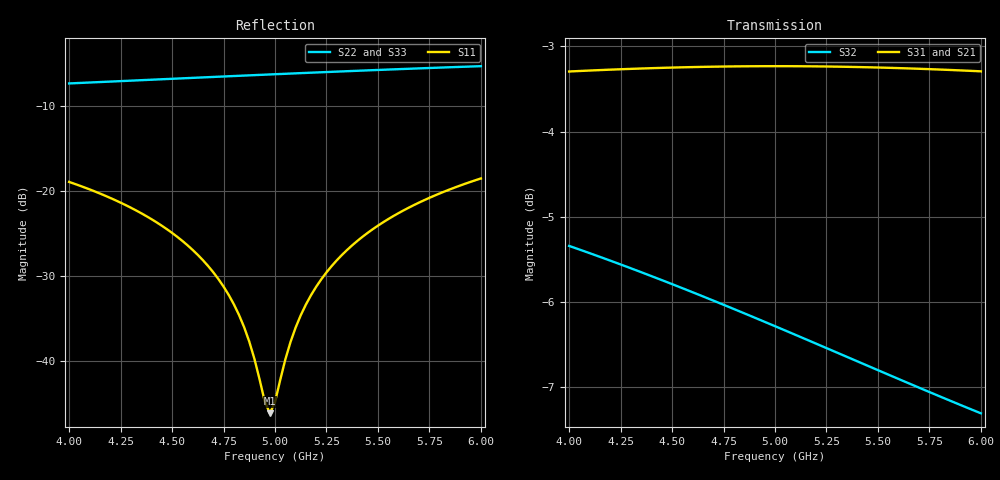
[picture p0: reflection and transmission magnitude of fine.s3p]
! yapnr rf: divider-osh-m-star, footprint re-simulated (refine 2)
! spec sha256 5c8ff818df422873aa88d55bef2dedd6a6ce6afaf8815cf4395bdffaf75e430d
! 3 ports renormalized to 50 ohm, e^(+jwt) convention
# GHz S RI R 50
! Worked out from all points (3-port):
!   81 points, 4 GHz to 6 GHz, reference 50 ohm
!   strongest paths, dB at 4 GHz, 4.5 GHz, 5 GHz, 5.5 GHz, 6 GHz:
!     S31: -3.3, -3.2, -3.2, -3.2, -3.3
!     S21: -3.3, -3.2, -3.2, -3.2, -3.3
!     S32: -5.3, -5.8, -6.3, -6.8, -7.3
!   lowest |S11| = -46.1 dB at 4.975 GHz (marker M1), VSWR 1.01, Z = 50.5 - j0.016 ohm
!   |S11| at or under -10 dB: start of sweep to end of sweep
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4  -0.0323 0.1089  -0.2274 -0.6453  -0.2274 -0.6453
   -0.2276 -0.6454  0.3176 0.2914  -0.4032 -0.3602
   -0.2276 -0.6454  -0.4032 -0.3602  0.3176 0.2914
4.4  -0.00745 0.0682  -0.3526 -0.59  -0.3526 -0.59
     -0.3527 -0.59  0.3976 0.2175  -0.455 -0.2498
     -0.3527 -0.59  -0.455 -0.2498  0.3976 0.2175
4.675  0.00225 0.0363  -0.4312 -0.5368  -0.4312 -0.5368
       -0.4314 -0.5369  0.4429 0.1547  -0.4731 -0.1724
       -0.4314 -0.5369  -0.4731 -0.1724  0.4429 0.1547
4.825  0.00467 0.0182  -0.4708 -0.5031  -0.4708 -0.5031
       -0.471 -0.5031  0.4634 0.117  -0.4774 -0.131
       -0.471 -0.5031  -0.4774 -0.131  0.4634 0.117
4.975  0.00494 -0.000158  -0.5075 -0.4662  -0.5075 -0.4662
       -0.5077 -0.4662  0.4806 0.0771  -0.478 -0.0904
       -0.5077 -0.4662  -0.478 -0.0904  0.4806 0.0771
5  0.00478 -0.00321  -0.5134 -0.4598  -0.5134 -0.4598
   -0.5136 -0.4598  0.4831 0.0702  -0.4778 -0.0838
   -0.5136 -0.4598  -0.4778 -0.0838  0.4831 0.0702
5.125  0.00304 -0.0184  -0.5412 -0.4265  -0.5412 -0.4265
       -0.5414 -0.4265  0.4943 0.0354  -0.4752 -0.0512
       -0.5414 -0.4265  -0.4752 -0.0512  0.4943 0.0354
5.3  -0.00195 -0.0392  -0.5764 -0.377  -0.5764 -0.377
     -0.5766 -0.377  0.5056 -0.0151  -0.468 -0.00751
     -0.5766 -0.377  -0.468 -0.00751  0.5056 -0.0151
5.575  -0.0156 -0.0698  -0.6218 -0.2934  -0.6218 -0.2934
       -0.622 -0.2933  0.5125 -0.0968  -0.4495 0.0561
       -0.622 -0.2933  -0.4495 0.0561  0.5125 -0.0968
6  -0.0491 -0.1085  -0.6667 -0.1547  -0.6667 -0.1547
   -0.6668 -0.1546  0.4964 -0.2238  -0.4076 0.1407
   -0.6668 -0.1546  -0.4076 0.1407  0.4964 -0.2238
